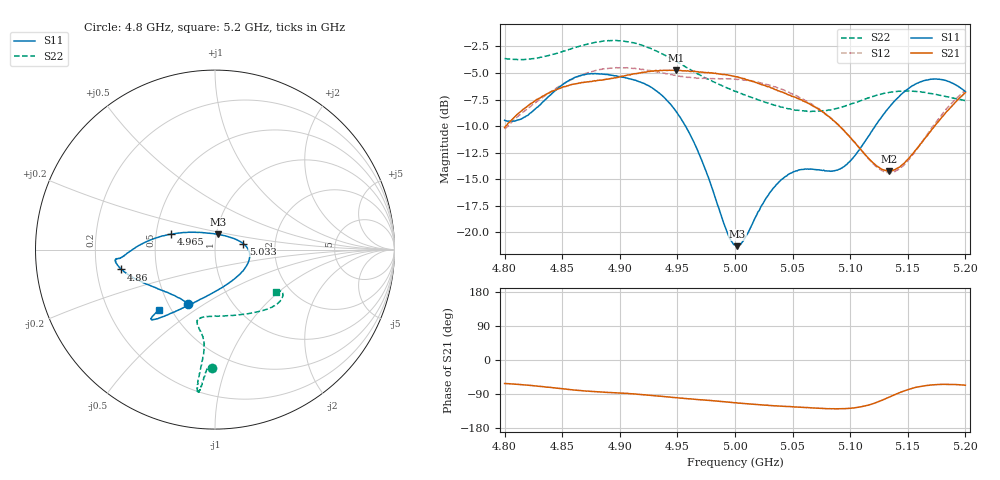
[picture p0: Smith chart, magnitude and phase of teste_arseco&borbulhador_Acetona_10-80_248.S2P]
! Network Analyzer HP8722D
! Hewlett-Packard
! Data name: Linha & Wilkinson
! Saver's name: Rodrigo Anjos
! Comments: Teste da utilização de aquisição
! continua pelo VNA HP8722D
! Time and date: 17/4/2025 16:25
!  Frequency  S11  S21  S12  S22
# HZ  S  MA R 50
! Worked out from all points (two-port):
!   401 points, 4.8 GHz to 5.2 GHz, reference 50 ohm
!   highest |S21| = -4.73 dB at 4.949 GHz (marker M1); lowest = -14.2 dB at 5.134 GHz (marker M2)
!   |S21| within 3 dB of the highest: 4.825 GHz to 5.061 GHz (236.4 MHz wide, 4.78 % of centre); 5.191483 GHz to end of sweep
!   lowest |S11| = -21.3 dB at 5.002 GHz (marker M3), VSWR 1.19, Z = 50.9 + j8.68 ohm
!   |S11| at or under -10 dB: 4.957 GHz to 5.122 GHz (164.5 MHz wide, 3.26 % of centre)
!   |S22| runs from -8.6 to -1.9 dB; largest |S21 - S12| = 0.87
!   S11 on the Smith chart (normalised r, x): 4.8 GHz: 0.63, -0.43; 4.86 GHz: 0.31, -0.09; 4.965 GHz: 0.60, +0.11; 5.033 GHz: 1.37, +0.09; 5.2 GHz: 0.43, -0.37
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4.8e9  0.3368 -116.3  0.3117 -62.1  0.3065 -176.3  0.6573 -91.3
4.819e9  0.3535 -136.6  0.3889 -66.2  0.3786 -175.7  0.6533 -92.9
4.86e9  0.5328 -168.0  0.4978 -79.1  0.5299 -179.1  0.7368 -95.2
4.867e9  0.549 -170.8  0.5076 -81.0  0.5515 179.6  0.7573 -95.5
4.899e9  0.5416 -174.8  0.5372 -87.1  0.5949 173.5  0.7969 -96.9
4.934e9  0.4537 179.4  0.5766 -95.5  0.5689 170.2  0.7041 -97.2
4.949e9  0.37 172.2  0.5799 -99.4  0.5478 170.7  0.6381 -96.8
4.965e9  0.2612 160.8  0.5735 -103.7  0.5329 172.2  0.568 -96.2
4.993e9  0.1008 113.0  0.5518 -111.0  0.5283 174.5  0.4788 -98.8
5e9  0.08724 87.2  0.541 -112.9  0.5262 174.5  0.4613 -100.1
5.002e9  0.08621 79.0  0.5395 -113.3  0.5239 174.5  0.4576 -100.6
5.009e9  0.09506 54.2  0.5257 -115.1  0.5215 174.3  0.4425 -101.9
5.033e9  0.161 11.8  0.476 -120.6  0.4863 173.1  0.3987 -103.4
5.049e9  0.1905 -3.3  0.4368 -123.3  0.4502 172.5  0.3794 -99.0
5.067e9  0.1985 -22.7  0.3946 -126.4  0.4007 172.2  0.3718 -88.6
5.096e9  0.2073 -73.2  0.2955 -128.2  0.2965 174.7  0.3942 -66.1
5.121e9  0.312 -110.8  0.2102 -114.1  0.2081 -169.1  0.4387 -49.5
5.134e9  0.389 -120.7  0.1947 -97.8  0.1908 -151.0  0.4561 -43.3
5.148e9  0.4645 -127.1  0.2149 -80.3  0.2111 -130.6  0.463 -38.0
5.166e9  0.5211 -131.5  0.2821 -67.5  0.2846 -114.2  0.4541 -33.5
5.182e9  0.5201 -132.9  0.3605 -64.3  0.3725 -108.8  0.4371 -32.3
5.2e9  0.4593 -133.0  0.4543 -66.6  0.466 -108.6  0.4168 -34.7
